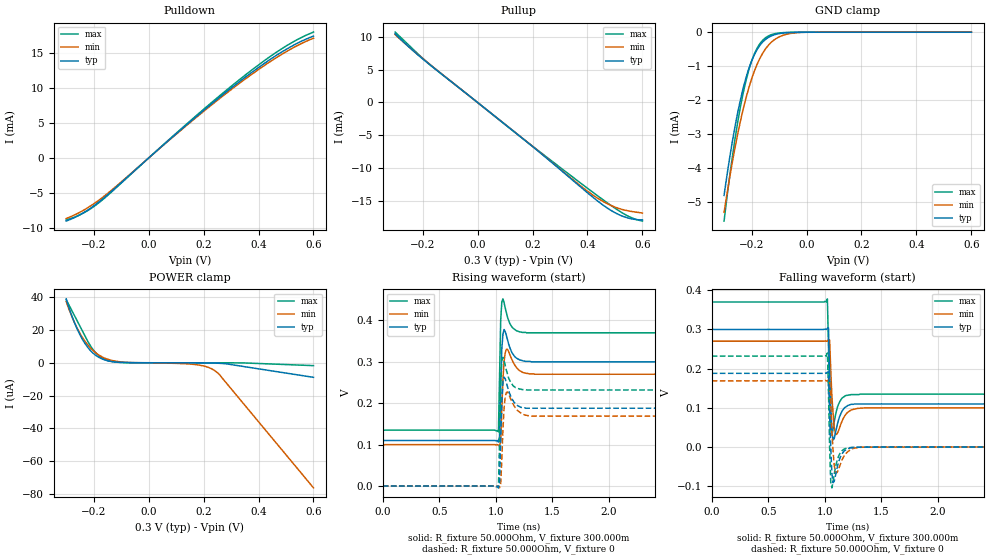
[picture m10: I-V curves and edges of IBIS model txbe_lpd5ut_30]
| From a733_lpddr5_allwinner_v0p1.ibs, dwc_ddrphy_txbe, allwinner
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[Model] txbe_lpd5ut_30
Model_type   I/O
Polarity   Non-Inverting
Enable   Active-High
C_comp   1.465pF   1.447pF   1.47pF
C_comp_pullup   292.671fF   276.014fF   308.304fF
C_comp_pulldown   1.11pF   1.062pF   1.125pF
Vinh = 310.000mV
Vinl = 190.000mV
Vmeas = 250.000mV
Vref = 250.000mV
Rref = 50Ohms
Cref = 0pF
[Model Spec]
Vinh   310.000mV   295.000mV   345.000mV
Vinl   190.000mV   175.000mV   225.000mV
Vmeas   250.000mV   235.000mV   285.000mV
Vref   250.000mV   235.000mV   285.000mV
D_overshoot_ampl_h 0.1 NA   NA
D_overshoot_ampl_l 0.1 NA   NA
D_overshoot_area_l 300.000m NA   NA
D_overshoot_area_h 300.000m NA   NA
[Receiver Thresholds]
Vth = 125.000mV
Vth_min = 118.000mV
Vth_max = 143.000mV
Vinh_ac = 60.000mV
Vinh_dc = 60.000mV
Vinl_ac = -60.000mV
Vinl_dc = -60.000mV
Tslew_ac = 5.000ns
Threshold_sensitivity = 0.5
Reference_supply Pullup_ref
[Temperature Range]   25.000   125.000   -40.000
[Voltage Range]   300.000mV   270.000mV   370.000mV
[GND Clamp Reference]   0.00V   0.00V   0.00V
[C Comp Corner]
| variable   typ   min   max
C_comp   1.465pF   1.447pF   1.47pF
C_comp_pullup   292.671fF   276.014fF   308.304fF
C_comp_pulldown   1.11pF   1.062pF   1.125pF
[Pulldown Reference]   0.00V   0.00V   0.00V
[POWER Clamp Reference]   300.000mV   270.000mV   370.000mV
[Pullup Reference]   300.000mV   270.000mV   370.000mV
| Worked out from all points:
|   slope of the pulldown table from 0 to 0.045 V, typ, clamps not added: 28.8 ohm
|   slope of the pullup table from 0 to 0.045 V, typ, clamps not added: 30 ohm
|   GND clamp passes 1 mA (typ) near -0.21 V on its own axis
|   rising waveform, R_fixture 50.000Ohm, V_fixture 300.000m: 20-80 % time 9.71ps typ, 13.6ps min, 10.5ps max; typ from 0.11 V to 0.3 V
|   rising waveform, R_fixture 50.000Ohm, V_fixture 0: 20-80 % time 11.1ps typ, 14.9ps min, 11ps max; typ from 0 V to 0.188 V
|   falling waveform, R_fixture 50.000Ohm, V_fixture 300.000m: 20-80 % time 10.9ps typ, 14.5ps min, 11.4ps max; typ from 0.3 V to 0.11 V
|   falling waveform, R_fixture 50.000Ohm, V_fixture 0: 20-80 % time 11.4ps typ, 15.2ps min, 11.2ps max; typ from 0.188 V to 0 V
[GND Clamp]
-300mV    -4.812mA   -5.313mA   -5.568mA
-280mV    -3.723mA   -4.303mA   -4.27mA
-260mV    -2.773mA   -3.397mA   -3.135mA
-250mV    -2.355mA   -2.986mA   -2.634mA
-230mV    -1.636mA   -2.253mA   -1.776mA
-210mV    -1.074mA   -1.641mA   -1.114mA
-190mV    -665.6uA   -1.15mA    -643.3uA
-170mV    -388.7uA   -773.4uA   -340.8uA
-150mV    -215.3uA   -499.1uA   -167.1uA
-100mV    -40.84uA   -138.2uA   -22.34uA
-40mV     -3.47uA    -16.77uA   -1.319uA
600mV     803.1nA    6.382uA    219.4nA
[Power Clamp]
-300mV    39.01uA    37.38uA    38.53uA
-270mV    24.51uA    24.61uA    28.81uA
-230mV    11.35uA    12.74uA    15.86uA
-210mV    7.144uA    8.699uA    9.855uA
-190mV    4.241uA    5.727uA    5.658uA
-140mV    907.9nA    1.683uA    968.8nA
-80mV     102.5nA    262.4nA    71.28nA
160mV     -68.85nA   -928.4nA   -17.64nA
210mV     -125.3nA   -2.412uA   -22.8nA
240mV     -217.7nA   -4.727uA   -26.46nA
260mV     -349.4nA   -7.648uA   -29.76nA
600mV     -8.9uA     -76.37uA   -1.755uA
[Pulldown]
-300mV    -8.959mA   -8.607mA   -8.81mA
-270mV    -8.472mA   -8.1mA     -8.417mA
-230mV    -7.621mA   -7.269mA   -7.669mA
-170mV    -5.908mA   -5.671mA   -6.015mA
-110mV    -3.867mA   -3.754mA   -3.94mA
140mV     4.787mA    4.689mA    4.889mA
250mV     8.373mA    8.197mA    8.572mA
350mV     11.44mA    11.19mA    11.74mA
440mV     13.96mA    13.65mA    14.37mA
500mV     15.43mA    15.1mA     15.92mA
550mV     16.49mA    16.16mA    17.02mA
600mV     17.34mA    17.03mA    17.91mA
[Pullup]
-300mV    10.48mA    10.35mA    10.74mA
-230mV    7.726mA    7.759mA    7.93mA
-150mV    4.956mA    4.997mA    4.993mA
180mV     -6.031mA   -6.012mA   -6.007mA
360mV     -12.35mA   -12.22mA   -11.81mA
420mV     -14.45mA   -14.13mA   -13.7mA
460mV     -15.74mA   -15.17mA   -14.94mA
510mV     -17.02mA   -16.1mA    -16.39mA
560mV     -17.74mA   -16.62mA   -17.57mA
600mV     -17.91mA   -16.86mA   -18.07mA
[Ramp]
R_load=50.000Ohm
dV/dt_r   113.394mV/9.500ps  101.646mV/13.500ps  140.099mV/8.500ps
dV/dt_f   113.394mV/10.500ps  101.646mV/15.000ps  140.099mV/9.500ps
[Rising waveform]
R_fixture=50.000Ohm
V_fixture=300.000m
V_fixture_min=270.000m
V_fixture_max=370.000m
0s        110mV      100mV      135mV
1.023ns   106mV      99.08mV    131mV
1.033ns   120mV      95.99mV    261mV
1.043ns   245mV      109mV      401mV
1.053ns   332mV      188mV      445mV
1.063ns   367mV      259mV      452mV
1.093ns   364mV      330mV      419mV
1.163ns   314mV      294mV      379mV
1.273ns   301mV      272mV      370mV
10ns      300mV      270mV      370mV
[Rising waveform]
R_fixture=50.000Ohm
V_fixture=0
0s        20.25uV    179.5uV    4.618uV
1.023ns   -4.299mV   -1.217mV   -4.094mV
1.033ns   7.153mV    -4.167mV   107mV
1.043ns   114mV      5.48mV     250mV
1.063ns   252mV      138mV      311mV
1.083ns   259mV      216mV      291mV
1.103ns   240mV      227mV      270mV
1.183ns   196mV      186mV      237mV
1.303ns   188mV      169mV      232mV
10ns      188mV      169mV      232mV
[Falling waveform]
R_fixture=50.000Ohm
V_fixture=300.000m
V_fixture_min=270.000m
V_fixture_max=370.000m
0s        300mV      270mV      370mV
1.023ns   303mV      270mV      378mV
1.033ns   304mV      274mV      260mV
1.043ns   181mV      273mV      132mV
1.053ns   104mV      194mV      43.84mV
1.063ns   40.95mV    129mV      30.57mV
1.103ns   48mV       32.17mV    92.13mV
1.173ns   99.87mV    77.98mV    129mV
1.313ns   110mV      99.21mV    135mV
10ns      110mV      100mV      135mV
[Falling waveform]
R_fixture=50.000Ohm
V_fixture=0
0s        188mV      169mV      232mV
1.023ns   191mV      169mV      240mV
1.033ns   192mV      172mV      139mV
1.043ns   83.74mV    173mV      -2.644mV
1.053ns   -3.707mV   108mV      -90.98mV
1.063ns   -67.24mV   38.92mV    -104mV
1.103ns   -60.77mV   -66.33mV   -40.65mV
1.173ns   -9.657mV   -21.86mV   -4.931mV
1.353ns   -172.2uV   -197.8uV   -99.13uV
10ns      20.24uV    179.6uV    4.071uV
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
